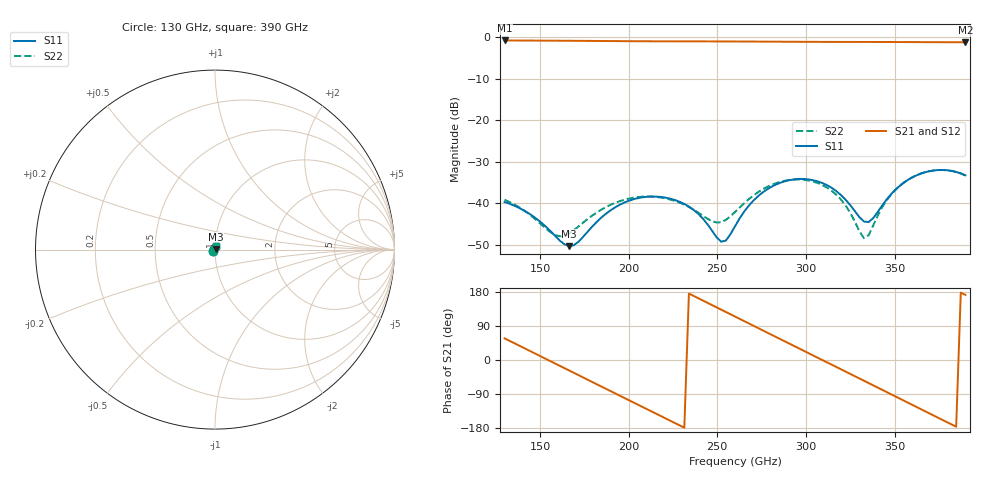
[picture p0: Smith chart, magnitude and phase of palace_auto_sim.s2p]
#  GHZ S DB R 50
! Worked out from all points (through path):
!   101 points, 130 GHz to 390 GHz, reference 50 ohm
!   highest |S21| = -0.76 dB at 130 GHz (marker M1); lowest = -1.2 dB at 390 GHz (marker M2)
!   group delay of S21, straight-line fit = 6.47 ps
!   lowest |S11| = -50.3 dB at 166.4 GHz (marker M3), VSWR 1.01, Z = 50.3 + j0.0564 ohm
!   |S11| at or under -10 dB: start of sweep to end of sweep
!   |S22| runs from -48.4 to -32.0 dB; largest |S21 - S12| = 1e-13
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130  -39.69 -148.0  -0.76 57.0  -0.76 57.0  -39.16 -146.0
148.2  -43.79 136.4  -0.80 14.7  -0.80 14.7  -44.13 134.0
158.6  -47.87 77.4  -0.82 -9.5  -0.82 -9.5  -47.64 62.6
166.4  -50.32 10.6  -0.84 -27.7  -0.84 -27.7  -47.28 -2.9
174.2  -48.12 -59.7  -0.86 -45.8  -0.86 -45.8  -44.68 -55.7
195  -40.33 -164.0  -0.92 -94.2  -0.92 -94.2  -39.47 -152.1
205.4  -38.73 158.9  -0.95 -118.3  -0.95 -118.3  -38.48 168.6
218.4  -38.47 117.5  -0.97 -148.4  -0.97 -148.4  -38.62 123.0
228.8  -39.62 85.7  -0.98 -172.6  -0.98 -172.6  -39.84 86.2
239.2  -42.50 49.9  -0.99 163.2  -0.99 163.2  -42.22 42.1
252.2  -49.24 -39.3  -1.00 132.9  -1.00 132.9  -44.52 -44.7
260  -45.52 -117.9  -1.01 114.7  -1.01 114.7  -42.09 -99.3
270.4  -39.32 -167.5  -1.03 90.4  -1.03 90.4  -38.10 -148.7
280.8  -35.95 158.2  -1.05 66.2  -1.05 66.2  -35.52 174.0
293.8  -34.21 119.6  -1.08 35.9  -1.08 35.9  -34.25 133.2
304.2  -34.44 88.8  -1.10 11.7  -1.10 11.7  -34.77 101.7
319.8  -38.00 36.8  -1.12 -24.5  -1.12 -24.5  -39.10 50.7
332.8  -44.39 -46.1  -1.13 -54.8  -1.13 -54.8  -48.39 -45.8
348.4  -37.65 -160.5  -1.14 -91.2  -1.14 -91.2  -37.72 -165.9
358.8  -34.04 164.5  -1.15 -115.5  -1.15 -115.5  -34.01 161.9
371.8  -32.10 128.4  -1.18 -145.8  -1.18 -145.8  -32.09 126.2
390  -33.27 81.4  -1.20 171.8  -1.20 171.8  -33.26 76.6
